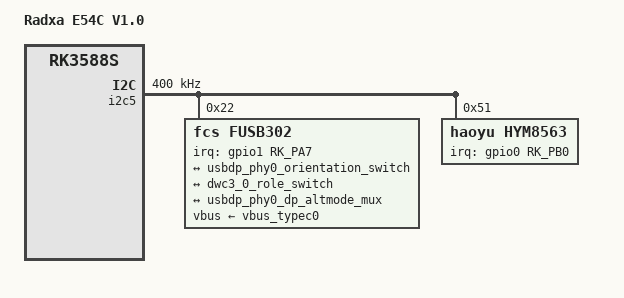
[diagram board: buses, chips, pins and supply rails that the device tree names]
// SPDX-License-Identifier: (GPL-2.0+ OR MIT)
/*
 * Copyright (c) 2024 Radxa Computer (Shenzhen) Co., Ltd.
 * Copyright (c) 2025 flippy (flippy@sina.com)
 */

/dts-v1/;

#include "rk3588s-radxa-e54c.dts"

/ {
	/* Ver 1.0 20240715 */
	model = "Radxa E54C V1.0";
};

&i2c4 {
	status = "disabled";
	/delete-node/ usb-typec@22;
	/delete-node/ rtc@51;
};

&i2c5 {
	clock-frequency = <400000>;
	pinctrl-names = "default";
	pinctrl-0 = <&i2c5m2_xfer>;
	status = "okay";

	fusb302: usb-typec@22 {
		status = "okay";
		compatible = "fcs,fusb302";
		reg = <0x22>;
		interrupt-parent = <&gpio1>;
		interrupts = <RK_PA7 IRQ_TYPE_EDGE_FALLING>;
		pinctrl-names = "default";
		pinctrl-0 = <&fusb302_int_l>;
		vbus-supply = <&vbus_typec0>;

		typec0_connect: connector {
			compatible = "usb-c-connector";
			label = "USB-C";
			power-role = "dual";
			try-power-role = "sink";
			source-pdos = <PDO_FIXED(5000, 3000, PDO_FIXED_USB_COMM)>;
			sink-pdos = <PDO_FIXED(5000, 5000, PDO_FIXED_USB_COMM)
				     PDO_VAR(5000, 20000, 5000)
				     PDO_PPS_APDO(5000, 20000, 5000)>;
			op-sink-microwatt = <100000000>;

			ports {
				#address-cells = <1>;
				#size-cells = <0>;

				port@0 {
					reg = <0>;

					usbc0_orien_sw: endpoint {
						remote-endpoint = <&usbdp_phy0_orientation_switch>;
					};
				};

				port@1 {
					reg = <1>;

					usbc0_role_sw: endpoint {
						remote-endpoint = <&dwc3_0_role_switch>;
					};
				};

				port@2 {
					reg = <2>;

					dp_altmode_mux: endpoint {
						remote-endpoint = <&usbdp_phy0_dp_altmode_mux>;
					};
				};
			};
		};
	};

	hym8563: rtc@51 {
		compatible = "haoyu,hym8563";
		reg = <0x51>;
		#clock-cells = <0>;
		clock-output-names = "rtcic_32kout";
		interrupt-parent = <&gpio0>;
		interrupts = <RK_PB0 IRQ_TYPE_LEVEL_LOW>;
		pinctrl-names = "default";
		pinctrl-0 = <&hym8563_int_l>;
	};
};
